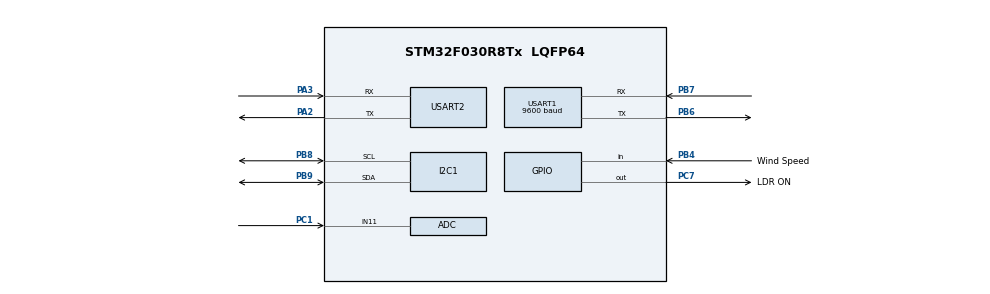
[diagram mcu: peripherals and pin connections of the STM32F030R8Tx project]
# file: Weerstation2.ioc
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FREERTOS.Mutexes01=hi2c1Mutex,Dynamic,NULL;huart1Mutex,Dynamic,NULL
FREERTOS.Tasks01=defaultTask,0,128,StartDefaultTask,Default,NULL,Dynamic,NULL,NULL;tempTask,-3,128,StartTaskTempTask,Default,NULL,Dynamic,NULL,NULL;humdTask,-3,128,StartHumdTask,Default,NULL,Dynamic,NULL,NULL
Mcu.Family=STM32F0
Mcu.Name=STM32F030R8Tx
Mcu.Package=LQFP64
NVIC.TIM1_BRK_UP_TRG_COM_IRQn=true\:0\:0\:false\:false\:true\:false\:false
NVIC.TimeBase=TIM1_BRK_UP_TRG_COM_IRQn
NVIC.TimeBaseIP=TIM1
PA2.Mode=Asynchronous
PA2.Signal=USART2_TX
PA3.Mode=Asynchronous
PA3.Signal=USART2_RX
PB4.GPIO_Label=Wind Speed
PB4.GPIO_PuPd=GPIO_PULLUP
PB4.Signal=GPIO_Input
PB6.Mode=Asynchronous
PB6.Signal=USART1_TX
PB7.Mode=Asynchronous
PB7.Signal=USART1_RX
PB8.Mode=I2C
PB8.Signal=I2C1_SCL
PB9.Mode=I2C
PB9.Signal=I2C1_SDA
PC1.Mode=IN11
PC1.Signal=ADC_IN11
PC7.GPIO_Label=LDR ON
PC7.GPIO_ModeDefaultOutputPP=GPIO_MODE_OUTPUT_PP
PC7.PinState=GPIO_PIN_RESET
PC7.Signal=GPIO_Output
ProjectManager.HeapSize=0x200
ProjectManager.StackSize=0x400
ProjectManager.TargetToolchain=SW4STM32
USART1.BaudRate=9600
USART1.VirtualMode-Asynchronous=VM_ASYNC
USART2.VirtualMode-Asynchronous=VM_ASYNC
VP_FREERTOS_VS_ENABLE.Mode=Enabled
VP_SYS_VS_tim1.Mode=TIM1
board=custom

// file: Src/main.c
/**
  ******************************************************************************
  * @file           : main.c
  * @brief          : Main program body
  ******************************************************************************
  * This notice applies to any and all portions of this file
  * that are not between comment pairs USER CODE BEGIN and
  * USER CODE END. Other portions of this file, whether
  * inserted by the user or by software development tools
  * are owned by their respective copyright owners.
  *
  * Copyright (c) 2018 STMicroelectronics International N.V.
  * All rights reserved.
  *
  * Redistribution and use in source and binary forms, with or without
  * modification, are permitted, provided that the following conditions are met:
  *
  * 1. Redistribution of source code must retain the above copyright notice,
  *    this list of conditions and the following disclaimer.
  * 2. Redistributions in binary form must reproduce the above copyright notice,
  *    this list of conditions and the following disclaimer in the documentation
  *    and/or other materials provided with the distribution.
  * 3. Neither the name of STMicroelectronics nor the names of other
  *    contributors to this software may be used to endorse or promote products
  *    derived from this software without specific written permission.
  * 4. This software, including modifications and/or derivative works of this
  *    software, must execute solely and exclusively on microcontroller or
  *    microprocessor devices manufactured by or for STMicroelectronics.
  * 5. Redistribution and use of this software other than as permitted under
  *    this license is void and will automatically terminate your rights under
  *    this license.
  *
  * THIS SOFTWARE IS PROVIDED BY STMICROELECTRONICS AND CONTRIBUTORS "AS IS"
  * AND ANY EXPRESS, IMPLIED OR STATUTORY WARRANTIES, INCLUDING, BUT NOT
  * LIMITED TO, THE IMPLIED WARRANTIES OF MERCHANTABILITY, FITNESS FOR A
  * PARTICULAR PURPOSE AND NON-INFRINGEMENT OF THIRD PARTY INTELLECTUAL PROPERTY
  * RIGHTS ARE DISCLAIMED TO THE FULLEST EXTENT PERMITTED BY LAW. IN NO EVENT
  * SHALL STMICROELECTRONICS OR CONTRIBUTORS BE LIABLE FOR ANY DIRECT, INDIRECT,
  * INCIDENTAL, SPECIAL, EXEMPLARY, OR CONSEQUENTIAL DAMAGES (INCLUDING, BUT NOT
  * LIMITED TO, PROCUREMENT OF SUBSTITUTE GOODS OR SERVICES; LOSS OF USE, DATA,
  * OR PROFITS; OR BUSINESS INTERRUPTION) HOWEVER CAUSED AND ON ANY THEORY OF
  * LIABILITY, WHETHER IN CONTRACT, STRICT LIABILITY, OR TORT (INCLUDING
  * NEGLIGENCE OR OTHERWISE) ARISING IN ANY WAY OUT OF THE USE OF THIS SOFTWARE,
  * EVEN IF ADVISED OF THE POSSIBILITY OF SUCH DAMAGE.
  *
  ******************************************************************************
  */
#include "main.h"
#include "stm32f0xx_hal.h"
#include "cmsis_os.h"

/* USER CODE BEGIN Includes */
#include <stdio.h>
#include <stdlib.h>
#include "fonts.h"
#include "string.h"
#include "si7021.h"
#include "ssd1306.h"
#include "weereenlibrary.h"

/* USER CODE END Includes */

ADC_HandleTypeDef hadc;

I2C_HandleTypeDef hi2c1;

UART_HandleTypeDef huart1;
UART_HandleTypeDef huart2;

osThreadId defaultTaskHandle;
osThreadId tempTaskHandle;
osThreadId humdTaskHandle;
osMutexId hi2c1MutexHandle;
osMutexId huart1MutexHandle;

/* USER CODE BEGIN PV */
/* Private variables ---------------------------------------------------------*/

/* USER CODE END PV */

void SystemClock_Config(void);
static void MX_GPIO_Init(void);
static void MX_USART1_UART_Init(void);
static void MX_I2C1_Init(void);
static void MX_USART2_UART_Init(void);
static void MX_ADC_Init(void);
void StartDefaultTask(void const * argument);
void StartTaskTempTask(void const * argument);
void StartHumdTask(void const * argument);

/* USER CODE BEGIN PFP */
/* Private function prototypes -----------------------------------------------*/

/* USER CODE END PFP */

int main(void)
{

  /* MCU Configuration----------------------------------------------------------*/

  /* Reset of all peripherals, Initializes the Flash interface and the Systick. */
  HAL_Init();

  /* USER CODE BEGIN Init */
	ssd1306_Init();
  /* USER CODE END Init */

  /* Configure the system clock */
  SystemClock_Config();

  /* Initialize all configured peripherals */
  MX_GPIO_Init();
  MX_USART1_UART_Init();
  MX_I2C1_Init();
  MX_USART2_UART_Init();
  MX_ADC_Init();

  /* Create the mutex(es) */
  /* definition and creation of hi2c1Mutex */
  osMutexDef(hi2c1Mutex);
  hi2c1MutexHandle = osMutexCreate(osMutex(hi2c1Mutex));

  /* definition and creation of huart1Mutex */
  osMutexDef(huart1Mutex);
  huart1MutexHandle = osMutexCreate(osMutex(huart1Mutex));

  /* Create the thread(s) */
  /* definition and creation of defaultTask */
  osThreadDef(defaultTask, StartDefaultTask, osPriorityNormal, 0, 128);
  defaultTaskHandle = osThreadCreate(osThread(defaultTask), NULL);

  /* definition and creation of tempTask */
  osThreadDef(tempTask, StartTaskTempTask, osPriorityIdle, 0, 128);
  tempTaskHandle = osThreadCreate(osThread(tempTask), NULL);

  /* definition and creation of humdTask */
  osThreadDef(humdTask, StartHumdTask, osPriorityIdle, 0, 128);
  humdTaskHandle = osThreadCreate(osThread(humdTask), NULL);

  /* Start scheduler */
  osKernelStart();

  /* We should never get here as control is now taken by the scheduler */

  /* Infinite loop */
	while (1) {

	}

}

void SystemClock_Config(void)
{

  RCC_OscInitTypeDef RCC_OscInitStruct;
  RCC_ClkInitTypeDef RCC_ClkInitStruct;
  RCC_PeriphCLKInitTypeDef PeriphClkInit;

    /**Initializes the CPU, AHB and APB busses clocks
    */
  RCC_OscInitStruct.OscillatorType = RCC_OSCILLATORTYPE_HSI|RCC_OSCILLATORTYPE_HSI14;
  RCC_OscInitStruct.HSIState = RCC_HSI_ON;
  RCC_OscInitStruct.HSI14State = RCC_HSI14_ON;
  RCC_OscInitStruct.HSICalibrationValue = 16;
  RCC_OscInitStruct.HSI14CalibrationValue = 16;
  RCC_OscInitStruct.PLL.PLLState = RCC_PLL_NONE;
  if (HAL_RCC_OscConfig(&RCC_OscInitStruct) != HAL_OK)
  {
    _Error_Handler(__FILE__, __LINE__);
  }

    /**Initializes the CPU, AHB and APB busses clocks
    */
  RCC_ClkInitStruct.ClockType = RCC_CLOCKTYPE_HCLK|RCC_CLOCKTYPE_SYSCLK
                              |RCC_CLOCKTYPE_PCLK1;
  RCC_ClkInitStruct.SYSCLKSource = RCC_SYSCLKSOURCE_HSI;
  RCC_ClkInitStruct.AHBCLKDivider = RCC_SYSCLK_DIV1;
  RCC_ClkInitStruct.APB1CLKDivider = RCC_HCLK_DIV1;

  if (HAL_RCC_ClockConfig(&RCC_ClkInitStruct, FLASH_LATENCY_0) != HAL_OK)
  {
    _Error_Handler(__FILE__, __LINE__);
  }

  PeriphClkInit.PeriphClockSelection = RCC_PERIPHCLK_USART1|RCC_PERIPHCLK_I2C1;
  PeriphClkInit.Usart1ClockSelection = RCC_USART1CLKSOURCE_PCLK1;
  PeriphClkInit.I2c1ClockSelection = RCC_I2C1CLKSOURCE_HSI;
  if (HAL_RCCEx_PeriphCLKConfig(&PeriphClkInit) != HAL_OK)
  {
    _Error_Handler(__FILE__, __LINE__);
  }

    /**Configure the Systick interrupt time
    */
  HAL_SYSTICK_Config(HAL_RCC_GetHCLKFreq()/1000);

    /**Configure the Systick
    */
  HAL_SYSTICK_CLKSourceConfig(SYSTICK_CLKSOURCE_HCLK);

  /* SysTick_IRQn interrupt configuration */
  HAL_NVIC_SetPriority(SysTick_IRQn, 3, 0);
}

/* ADC init function */
static void MX_ADC_Init(void)
{

  ADC_ChannelConfTypeDef sConfig;

    /**Configure the global features of the ADC (Clock, Resolution, Data Alignment and number of conversion)
    */
  hadc.Instance = ADC1;
  hadc.Init.ClockPrescaler = ADC_CLOCK_ASYNC_DIV1;
  hadc.Init.Resolution = ADC_RESOLUTION_12B;
  hadc.Init.DataAlign = ADC_DATAALIGN_RIGHT;
  hadc.Init.ScanConvMode = ADC_SCAN_DIRECTION_FORWARD;
  hadc.Init.EOCSelection = ADC_EOC_SINGLE_CONV;
  hadc.Init.LowPowerAutoWait = DISABLE;
  hadc.Init.LowPowerAutoPowerOff = DISABLE;
  hadc.Init.ContinuousConvMode = DISABLE;
  hadc.Init.DiscontinuousConvMode = DISABLE;
  hadc.Init.ExternalTrigConv = ADC_SOFTWARE_START;
  hadc.Init.ExternalTrigConvEdge = ADC_EXTERNALTRIGCONVEDGE_NONE;
  hadc.Init.DMAContinuousRequests = DISABLE;
  hadc.Init.Overrun = ADC_OVR_DATA_PRESERVED;
  if (HAL_ADC_Init(&hadc) != HAL_OK)
  {
    _Error_Handler(__FILE__, __LINE__);
  }

    /**Configure for the selected ADC regular channel to be converted.
    */
  sConfig.Channel = ADC_CHANNEL_11;
  sConfig.Rank = ADC_RANK_CHANNEL_NUMBER;
  sConfig.SamplingTime = ADC_SAMPLETIME_1CYCLE_5;
  if (HAL_ADC_ConfigChannel(&hadc, &sConfig) != HAL_OK)
  {
    _Error_Handler(__FILE__, __LINE__);
  }

}

/* I2C1 init function */
static void MX_I2C1_Init(void)
{

  hi2c1.Instance = I2C1;
  hi2c1.Init.Timing = 0x2000090E;
  hi2c1.Init.OwnAddress1 = 0;
  hi2c1.Init.AddressingMode = I2C_ADDRESSINGMODE_7BIT;
  hi2c1.Init.DualAddressMode = I2C_DUALADDRESS_DISABLE;
  hi2c1.Init.OwnAddress2 = 0;
  hi2c1.Init.OwnAddress2Masks = I2C_OA2_NOMASK;
  hi2c1.Init.GeneralCallMode = I2C_GENERALCALL_DISABLE;
  hi2c1.Init.NoStretchMode = I2C_NOSTRETCH_DISABLE;
  if (HAL_I2C_Init(&hi2c1) != HAL_OK)
  {
    _Error_Handler(__FILE__, __LINE__);
  }

    /**Configure Analogue filter
    */
  if (HAL_I2CEx_ConfigAnalogFilter(&hi2c1, I2C_ANALOGFILTER_ENABLE) != HAL_OK)
  {
    _Error_Handler(__FILE__, __LINE__);
  }

    /**Configure Digital filter
    */
  if (HAL_I2CEx_ConfigDigitalFilter(&hi2c1, 0) != HAL_OK)
  {
    _Error_Handler(__FILE__, __LINE__);
  }

}

/* USART1 init function */
static void MX_USART1_UART_Init(void)
{

  huart1.Instance = USART1;
  huart1.Init.BaudRate = 9600;
  huart1.Init.WordLength = UART_WORDLENGTH_8B;
  huart1.Init.StopBits = UART_STOPBITS_1;
  huart1.Init.Parity = UART_PARITY_NONE;
  huart1.Init.Mode = UART_MODE_TX_RX;
  huart1.Init.HwFlowCtl = UART_HWCONTROL_NONE;
  huart1.Init.OverSampling = UART_OVERSAMPLING_16;
  huart1.Init.OneBitSampling = UART_ONE_BIT_SAMPLE_DISABLE;
  huart1.AdvancedInit.AdvFeatureInit = UART_ADVFEATURE_NO_INIT;
  if (HAL_UART_Init(&huart1) != HAL_OK)
  {
    _Error_Handler(__FILE__, __LINE__);
  }

}

/* USART2 init function */
static void MX_USART2_UART_Init(void)
{

  huart2.Instance = USART2;
  huart2.Init.BaudRate = 38400;
  huart2.Init.WordLength = UART_WORDLENGTH_8B;
  huart2.Init.StopBits = UART_STOPBITS_1;
  huart2.Init.Parity = UART_PARITY_NONE;
  huart2.Init.Mode = UART_MODE_TX_RX;
  huart2.Init.HwFlowCtl = UART_HWCONTROL_NONE;
  huart2.Init.OverSampling = UART_OVERSAMPLING_16;
  huart2.Init.OneBitSampling = UART_ONE_BIT_SAMPLE_DISABLE;
  huart2.AdvancedInit.AdvFeatureInit = UART_ADVFEATURE_NO_INIT;
  if (HAL_UART_Init(&huart2) != HAL_OK)
  {
    _Error_Handler(__FILE__, __LINE__);
  }

}

/** Configure pins as
        * Analog
        * Input
        * Output
        * EVENT_OUT
        * EXTI
*/
static void MX_GPIO_Init(void)
{

  GPIO_InitTypeDef GPIO_InitStruct;

  /* GPIO Ports Clock Enable */
  __HAL_RCC_GPIOC_CLK_ENABLE();
  __HAL_RCC_GPIOA_CLK_ENABLE();
  __HAL_RCC_GPIOB_CLK_ENABLE();

  /*Configure GPIO pin Output Level */
  HAL_GPIO_WritePin(LDR_ON_GPIO_Port, LDR_ON_Pin, GPIO_PIN_RESET);

  /*Configure GPIO pin : LDR_ON_Pin */
  GPIO_InitStruct.Pin = LDR_ON_Pin;
  GPIO_InitStruct.Mode = GPIO_MODE_OUTPUT_PP;
  GPIO_InitStruct.Pull = GPIO_NOPULL;
  GPIO_InitStruct.Speed = GPIO_SPEED_FREQ_LOW;
  HAL_GPIO_Init(LDR_ON_GPIO_Port, &GPIO_InitStruct);

  /*Configure GPIO pin : Wind_Speed_Pin */
  GPIO_InitStruct.Pin = Wind_Speed_Pin;
  GPIO_InitStruct.Mode = GPIO_MODE_INPUT;
  GPIO_InitStruct.Pull = GPIO_PULLUP;
  HAL_GPIO_Init(Wind_Speed_GPIO_Port, &GPIO_InitStruct);

}

/* StartDefaultTask function */
void StartDefaultTask(void const * argument)
{

  /* USER CODE BEGIN 5 */
	//This is were all of our main code is.
	//The for loop keeps running while the stm is connected to the power.

	//Used Variables
	float humidf;
	float tempf;
	float windf = 1.6f;
	int16_t light;
	char temp_buf[10];
	char humd_buf[10];
	char uartbuf[32] = "test";

	//Turning the screen on, DONT FORGET!
	ssd1306_Init();

	//Vars used for time measurement of the sending every minute. The timing of the windsensor may misplace the sending by +2 seconds later.
	unsigned int Time_begin = xTaskGetTickCount();
	unsigned int Time_end = xTaskGetTickCount();
	/* Infinite loop */
	for (;;) {

		//Getting the hum and temp values from the sensor.
		humidf = measHumd(HUMD_MEASURE_NOHOLD);
		tempf = measHumd(TEMP_MEASURE_NOHOLD);

		//Reading the LDR
		light = ldrCheckVal();
		//Readint the windspeed
		windf = (int16_t) windfCheckVal();
		//Pushing data to OLED screen.
		viewValOnOLED(tempf, humidf, windf, light);
		//Update current time
		Time_begin = xTaskGetTickCount();

		//If time has exceeded 60 seconds go and send the data.
		if(Time_begin - Time_end > 60000)
		{
			huart1toesp(tempf, humidf, windf, light);
			Time_end = xTaskGetTickCount();
		}

	}
  /* USER CODE END 5 */
}

/* StartTaskTempTask function */
void StartTaskTempTask(void const * argument)
{
	for (;;) {
		osDelay(1);
	}
}

/* StartHumdTask function */
void StartHumdTask(void const * argument)
{
	for (;;) {
		osDelay(1);
	}
}

void HAL_TIM_PeriodElapsedCallback(TIM_HandleTypeDef *htim)
{
  if (htim->Instance == TIM1) {
    HAL_IncTick();
  }
}

void _Error_Handler(char *file, int line)
{
	while (1) {
	}
}

/************************ (C) COPYRIGHT STMicroelectronics *****END OF FILE****/
